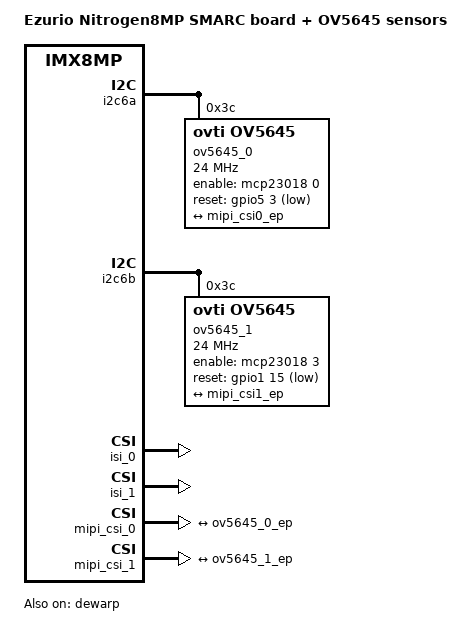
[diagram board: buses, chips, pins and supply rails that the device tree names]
// SPDX-License-Identifier: (GPL-2.0+ OR MIT)
/*
 * Copyright 2025 Ezurio LLC
 */

#include "imx8mp-nitrogen_smarc.dts"

/ {
	model = "Ezurio Nitrogen8MP SMARC board + OV5645 sensors";
	compatible = "ezurio,imx8mp-nitrogen_smarc-ov5645", "fsl,imx8mp";
};

&dewarp {
	status = "okay";
};

&i2c6a {
	/delete-node/ camera@10;

	ov5645_0: camera@3c {
		compatible = "ovti,ov5645";
		clocks = <&csi_mclk>;
		clock-names = "xclk";
		clock-frequency = <24000000>;
		enable-gpios = <&mcp23018 0 GPIO_ACTIVE_HIGH>;
		reset-gpios = <&gpio5 3 GPIO_ACTIVE_LOW>;
		reg = <0x3c>;
		status = "okay";

		port {
			ov5645_0_ep: endpoint {
				clock-lanes = <0>;
				data-lanes = <1 2>;
				remote-endpoint = <&mipi_csi0_ep>;
			};
		};
	};
};


&i2c6b {
	/delete-node/ camera@10;

	ov5645_1: camera@3c {
		compatible = "ovti,ov5645";
		clocks = <&csi_mclk>;
		clock-names = "xclk";
		clock-frequency = <24000000>;
		enable-gpios = <&mcp23018 3 GPIO_ACTIVE_HIGH>;
		reset-gpios = <&gpio1 15 GPIO_ACTIVE_LOW>;
		reg = <0x3c>;
		status = "okay";

		port {
			ov5645_1_ep: endpoint {
				clock-lanes = <0>;
				data-lanes = <1 2>;
				remote-endpoint = <&mipi_csi1_ep>;
			};
		};
	};
};

&isi_0 {
	status = "okay";

	cap_device {
		status = "okay";
	};

	m2m_device {
		status = "okay";
	};
};

&isi_1 {
	status = "okay";

	cap_device {
		status = "okay";
	};
};

&isp_0 {
	status = "disabled";
};

&isp_1 {
	status = "disabled";
};

&mipi_csi_0 {
	#address-cells = <1>;
	#size-cells = <0>;
	status = "okay";

	port@0 {
		reg = <0>;
		mipi_csi0_ep: endpoint {
			remote-endpoint = <&ov5645_0_ep>;
			data-lanes = <2>;
			csis-hs-settle = <13>;
			csis-clk-settle = <2>;
			csis-wclk;
		};
	};
};


&mipi_csi_1 {
	#address-cells = <1>;
	#size-cells = <0>;
	status = "okay";

	port@1 {
		reg = <1>;
		mipi_csi1_ep: endpoint {
			remote-endpoint = <&ov5645_1_ep>;
			data-lanes = <2>;
			csis-hs-settle = <13>;
			csis-clk-settle = <2>;
			csis-wclk;
		};
	};
};
